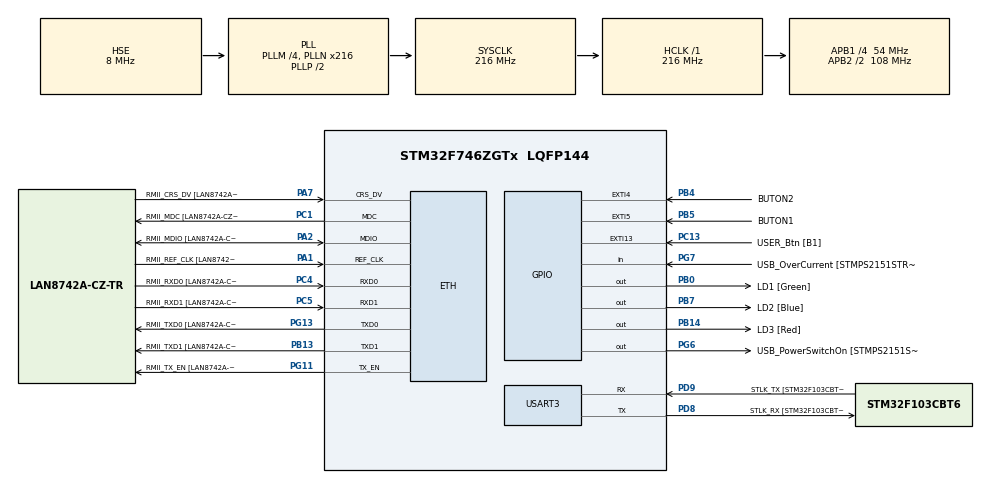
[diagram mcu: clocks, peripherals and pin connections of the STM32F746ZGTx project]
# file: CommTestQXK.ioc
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Dma.Request0=USART3_RX
Dma.Request1=USART3_TX
Dma.USART3_RX.0.Direction=DMA_PERIPH_TO_MEMORY
Dma.USART3_RX.0.FIFOMode=DMA_FIFOMODE_DISABLE
Dma.USART3_RX.0.Instance=DMA1_Stream1
Dma.USART3_RX.0.MemDataAlignment=DMA_MDATAALIGN_BYTE
Dma.USART3_RX.0.MemInc=DMA_MINC_ENABLE
Dma.USART3_RX.0.Mode=DMA_CIRCULAR
Dma.USART3_RX.0.PeriphDataAlignment=DMA_PDATAALIGN_BYTE
Dma.USART3_RX.0.PeriphInc=DMA_PINC_DISABLE
Dma.USART3_RX.0.Priority=DMA_PRIORITY_LOW
Dma.USART3_TX.1.Direction=DMA_MEMORY_TO_PERIPH
Dma.USART3_TX.1.FIFOMode=DMA_FIFOMODE_DISABLE
Dma.USART3_TX.1.Instance=DMA1_Stream3
Dma.USART3_TX.1.MemDataAlignment=DMA_MDATAALIGN_BYTE
Dma.USART3_TX.1.MemInc=DMA_MINC_ENABLE
Dma.USART3_TX.1.Mode=DMA_NORMAL
Dma.USART3_TX.1.PeriphDataAlignment=DMA_PDATAALIGN_BYTE
Dma.USART3_TX.1.PeriphInc=DMA_PINC_DISABLE
Dma.USART3_TX.1.Priority=DMA_PRIORITY_LOW
ETH.ChecksumMode=ETH_CHECKSUM_BY_HARDWARE
ETH.MediaInterface=ETH_MEDIA_INTERFACE_RMII
ETH.PHY_Name=LAN8742A_PHY_ADDRESS
ETH.PHY_Value=0
ETH.PhyAddress=0
FREERTOS.Tasks01=defaultTask,0,128,StartDefaultTask,Default,NULL,Dynamic,NULL,NULL
LWIP.IP_ADDRESS=192.168.000.010
LWIP.LWIP_DHCP=0
LWIP.MEMP_OVERFLOW_CHECK=1
LWIP.MEMP_SANITY_CHECK=1
LWIP.MEM_OVERFLOW_CHECK=1
LWIP.MEM_SIZE=16000
LWIP.NETMASK_ADDRESS=255.255.255.000
LWIP.Version=v2.1.2_Cube
Mcu.Family=STM32F7
Mcu.Name=STM32F746ZGTx
Mcu.Package=LQFP144
NVIC.DMA1_Stream1_IRQn=true\:5\:0\:false\:false\:true\:true\:false\:true\:true
NVIC.DMA1_Stream3_IRQn=true\:5\:0\:false\:false\:true\:true\:false\:true\:true
NVIC.ETH_IRQn=true\:5\:0\:false\:false\:true\:true\:true\:true\:true
NVIC.ETH_WKUP_IRQn=true\:5\:0\:false\:false\:true\:true\:true\:true\:true
NVIC.EXTI15_10_IRQn=true\:5\:0\:false\:false\:true\:true\:true\:true\:true
NVIC.EXTI4_IRQn=true\:5\:0\:false\:false\:true\:true\:true\:true\:true
NVIC.EXTI9_5_IRQn=true\:5\:0\:false\:false\:true\:true\:true\:true\:true
NVIC.PriorityGroup=NVIC_PRIORITYGROUP_4
NVIC.TIM6_DAC_IRQn=true\:5\:0\:false\:false\:true\:true\:true\:true\:true
NVIC.USART3_IRQn=true\:5\:0\:false\:false\:true\:true\:true\:true\:true
PA1.GPIO_Label=RMII_REF_CLK [LAN8742A-CZ-TR_REFCLK0]
PA1.Mode=RMII
PA1.Signal=ETH_REF_CLK
PA13.GPIO_Label=TMS
PA13.Mode=Trace_Asynchronous_SW
PA13.Signal=SYS_JTMS-SWDIO
PA14.GPIO_Label=TCK
PA14.Mode=Trace_Asynchronous_SW
PA14.Signal=SYS_JTCK-SWCLK
PA2.GPIO_Label=RMII_MDIO [LAN8742A-CZ-TR_MDIO]
PA2.Mode=RMII
PA2.Signal=ETH_MDIO
PA7.GPIO_Label=RMII_CRS_DV [LAN8742A-CZ-TR_CRS_DV]
PA7.Mode=RMII
PA7.Signal=ETH_CRS_DV
PB0.GPIO_Label=LD1 [Green]
PB0.Signal=GPIO_Output
PB13.GPIO_Label=RMII_TXD1 [LAN8742A-CZ-TR_TXD1]
PB13.Mode=RMII
PB13.Signal=ETH_TXD1
PB14.GPIO_Label=LD3 [Red]
PB14.Signal=GPIO_Output
PB3.GPIO_Label=SW0
PB3.Mode=Trace_Asynchronous_SW
PB3.Signal=SYS_JTDO-SWO
PB4.GPIO_Label=BUTON2
PB4.GPIO_ModeDefaultEXTI=GPIO_MODE_IT_RISING_FALLING
PB4.GPIO_PuPd=GPIO_PULLDOWN
PB4.Signal=GPXTI4
PB5.GPIO_Label=BUTON1
PB5.GPIO_ModeDefaultEXTI=GPIO_MODE_IT_RISING_FALLING
PB5.GPIO_PuPd=GPIO_PULLDOWN
PB5.Signal=GPXTI5
PB7.GPIO_Label=LD2 [Blue]
PB7.Signal=GPIO_Output
PC1.GPIO_Label=RMII_MDC [LAN8742A-CZ-TR_MDC]
PC1.Mode=RMII
PC1.Signal=ETH_MDC
PC13.GPIO_Label=USER_Btn [B1]
PC13.GPIO_ModeDefaultEXTI=GPIO_MODE_IT_RISING_FALLING
PC13.GPIO_PuPd=GPIO_PULLDOWN
PC13.Signal=GPXTI13
PC14/OSC32_IN.Mode=LSE-External-Oscillator
PC14/OSC32_IN.Signal=RCC_OSC32_IN
PC15/OSC32_OUT.Mode=LSE-External-Oscillator
PC15/OSC32_OUT.Signal=RCC_OSC32_OUT
PC4.GPIO_Label=RMII_RXD0 [LAN8742A-CZ-TR_RXD0]
PC4.Mode=RMII
PC4.Signal=ETH_RXD0
PC5.GPIO_Label=RMII_RXD1 [LAN8742A-CZ-TR_RXD1]
PC5.Mode=RMII
PC5.Signal=ETH_RXD1
PD8.GPIO_Label=STLK_RX [STM32F103CBT6_PA3]
PD8.Mode=Asynchronous
PD8.Signal=USART3_TX
PD9.GPIO_Label=STLK_TX [STM32F103CBT6_PA2]
PD9.Mode=Asynchronous
PD9.Signal=USART3_RX
PG11.GPIO_Label=RMII_TX_EN [LAN8742A-CZ-TR_TXEN]
PG11.Mode=RMII
PG11.Signal=ETH_TX_EN
PG13.GPIO_Label=RMII_TXD0 [LAN8742A-CZ-TR_TXD0]
PG13.Mode=RMII
PG13.Signal=ETH_TXD0
PG6.GPIO_Label=USB_PowerSwitchOn [STMPS2151STR_EN]
PG6.Signal=GPIO_Output
PG7.GPIO_Label=USB_OverCurrent [STMPS2151STR_FAULT]
PG7.Signal=GPIO_Input
PH0/OSC_IN.GPIO_Label=MCO [STM32F103CBT6_PA8]
PH0/OSC_IN.Mode=HSE-External-Clock-Source
PH0/OSC_IN.Signal=RCC_OSC_IN
PH1/OSC_OUT.Mode=HSE-External-Clock-Source
PH1/OSC_OUT.Signal=RCC_OSC_OUT
ProjectManager.HeapSize=0x2000
ProjectManager.StackSize=0x4000
ProjectManager.TargetToolchain=STM32CubeIDE
RCC.48MHZClocksFreq_Value=24000000
RCC.AHBFreq_Value=216000000
RCC.APB1CLKDivider=RCC_HCLK_DIV4
RCC.APB1Freq_Value=54000000
RCC.APB1TimFreq_Value=108000000
RCC.APB2CLKDivider=RCC_HCLK_DIV2
RCC.APB2Freq_Value=108000000
RCC.APB2TimCLKDivider=1
RCC.APB2TimFreq_Value=108000000
RCC.CortexFreq_Value=216000000
RCC.HCLKFreq_Value=216000000
RCC.HSE_VALUE=8000000
RCC.HSI_VALUE=16000000
RCC.PLLM=4
RCC.PLLMUL=RCC_PLL_MUL9
RCC.PLLN=216
RCC.PLLQ=9
RCC.PLLSourceVirtual=RCC_PLLSOURCE_HSE
RCC.PRESCALERUSB=RCC_USBCLKSOURCE_PLL_DIV1_5
RCC.SYSCLKFreq_VALUE=216000000
RCC.SYSCLKSource=RCC_SYSCLKSOURCE_PLLCLK
RCC.SYSCLKSourceVirtual=RCC_SYSCLKSOURCE_PLLCLK
RCC.USBFreq_Value=48000000
RCC.VCOOutputFreq_Value=432000000
TIM6.Period=100-1
TIM6.Prescaler=540-1
USART3.VirtualMode-Asynchronous=VM_ASYNC
VP_FREERTOS_VS_CMSIS_V1.Mode=CMSIS_V1
VP_LWIP_VS_Enabled.Mode=Enabled
VP_TIM6_VS_ClockSourceINT.Mode=Enable_Timer
board=NUCLEO-F746ZG

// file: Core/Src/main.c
/* USER CODE BEGIN Header */
/**
  ******************************************************************************
  * @file           : main.c
  * @brief          : Main program body
  ******************************************************************************
  * @attention
  *
  * Copyright (c) 2022 STMicroelectronics.
  * All rights reserved.
  *
  * This software is licensed under terms that can be found in the LICENSE file
  * in the root directory of this software component.
  * If no LICENSE file comes with this software, it is provided AS-IS.
  *
  ******************************************************************************
  */
/* USER CODE END Header */
#include "main.h"
#include "cmsis_os.h"
#include "lwip.h"

/* USER CODE BEGIN Includes */
#include "stdio.h"
#include "stdlib.h"  /*For malloc function*/
#include "stdbool.h"
#include "retarget.h"
//#include "udp_echoserver.h"
#include "string.h"
#include "CommDriver.h"

/* USER CODE END Includes */

/* USER CODE BEGIN PTD */

Q_DEFINE_THIS_MODULE("main");

/* USER CODE END PTD */

/* USER CODE BEGIN PD */
#define RTOS_AWARE_ISR_CMSIS_PRI \
    (configMAX_SYSCALL_INTERRUPT_PRIORITY >> (8-__NVIC_PRIO_BITS))
#define BSP_TICKS_PER_SEC 100
/* USER CODE END PD */

TIM_HandleTypeDef htim6;

UART_HandleTypeDef huart3;
DMA_HandleTypeDef hdma_usart3_rx;
DMA_HandleTypeDef hdma_usart3_tx;

osThreadId defaultTaskHandle;

void SystemClock_Config(void);
static void MX_GPIO_Init(void);
static void MX_USART3_UART_Init(void);
static void MX_DMA_Init(void);
static void MX_TIM6_Init(void);
void StartDefaultTask(void const * argument);

/* USER CODE BEGIN PFP */
void Q_onAssert(char const *module, int loc);
/* USER CODE END PFP */

int main(void)
{
  /* USER CODE BEGIN 1 */
	static QSubscrList subscrSto[10];

	static QF_MPOOL_EL(TextEvt) smlPoolSto[10]; /* small pool */

	static QEvt const *LwipDriver_queue[100];
	static QEvt const *UartDriver_queue[10];

	static StackType_t LwipDriverStack[configMINIMAL_STACK_SIZE * 5];
	static StackType_t UartDriverStack[configMINIMAL_STACK_SIZE * 3];

	static LwipDriver lwipdriver;
	static UartDriver uartdriver;
	static QActive *AO_LwipDriver = &lwipdriver.super;
	static QActive *AO_UartDriver = &uartdriver.super;
  /* USER CODE END 1 */

  /* MCU Configuration--------------------------------------------------------*/

  /* Reset of all peripherals, Initializes the Flash interface and the Systick. */
  HAL_Init();

  /* Configure the system clock */
  SystemClock_Config();

  /* Initialize all configured peripherals */
  MX_GPIO_Init();
  MX_USART3_UART_Init();
  MX_DMA_Init();
  MX_TIM6_Init();
  /* USER CODE BEGIN 2 */
  HAL_UART_DeInit(&huart3);
  HAL_UART_Init(&huart3);
  HAL_UART_Receive_DMA(&huart3,(uint8_t *)uartdriver.text,sizeof(uartdriver.text));
  RetargetInit(&huart3);

  printf("Merhaba\r\n");

  UartDriver_ctor(&uartdriver);
//  LwipDriver_ctor(&lwipdriver);

  QF_init();
  QF_psInit(subscrSto, Q_DIM(subscrSto));
  /* initialize event pools... */
  QF_poolInit(smlPoolSto, sizeof(smlPoolSto), sizeof(smlPoolSto[0]));

  /*Aktif objeler arasındaki öncelik ilişkisine dikkat et , öncelikler kesinlikle aynı olmayacak*/
//  QActive_setAttr(AO_LwipDriver, TASK_NAME_ATTR, "Lwip");
//  QACTIVE_START(AO_LwipDriver,2U,LwipDriver_queue,Q_DIM(LwipDriver_queue),LwipDriverStack,Q_DIM(LwipDriverStack),(QEvt *)0);
  QActive_setAttr(AO_UartDriver, TASK_NAME_ATTR, "Uart");
  QACTIVE_START(AO_UartDriver,1U,UartDriver_queue,Q_DIM(UartDriver_queue),UartDriverStack,Q_DIM(UartDriverStack),(QEvt *)0);
  return QF_run();

  /* USER CODE END 2 */

  /* Create the thread(s) */
  /* definition and creation of defaultTask */
  osThreadDef(defaultTask, StartDefaultTask, osPriorityNormal, 0, 128);
  defaultTaskHandle = osThreadCreate(osThread(defaultTask), NULL);

  /* Start scheduler */
  osKernelStart();

  /* We should never get here as control is now taken by the scheduler */
  /* Infinite loop */
  while (1)
  {

    /* USER CODE BEGIN 3 */

//	  MX_LWIP_Process();

  }
  /* USER CODE END 3 */
}

void SystemClock_Config(void)
{
  RCC_OscInitTypeDef RCC_OscInitStruct = {0};
  RCC_ClkInitTypeDef RCC_ClkInitStruct = {0};

  /** Configure LSE Drive Capability
  */
  HAL_PWR_EnableBkUpAccess();

  /** Configure the main internal regulator output voltage
  */
  __HAL_RCC_PWR_CLK_ENABLE();
  __HAL_PWR_VOLTAGESCALING_CONFIG(PWR_REGULATOR_VOLTAGE_SCALE1);

  /** Initializes the RCC Oscillators according to the specified parameters
  * in the RCC_OscInitTypeDef structure.
  */
  RCC_OscInitStruct.OscillatorType = RCC_OSCILLATORTYPE_HSE;
  RCC_OscInitStruct.HSEState = RCC_HSE_BYPASS;
  RCC_OscInitStruct.PLL.PLLState = RCC_PLL_ON;
  RCC_OscInitStruct.PLL.PLLSource = RCC_PLLSOURCE_HSE;
  RCC_OscInitStruct.PLL.PLLM = 4;
  RCC_OscInitStruct.PLL.PLLN = 216;
  RCC_OscInitStruct.PLL.PLLP = RCC_PLLP_DIV2;
  RCC_OscInitStruct.PLL.PLLQ = 9;
  if (HAL_RCC_OscConfig(&RCC_OscInitStruct) != HAL_OK)
  {
    Error_Handler();
  }

  /** Activate the Over-Drive mode
  */
  if (HAL_PWREx_EnableOverDrive() != HAL_OK)
  {
    Error_Handler();
  }

  /** Initializes the CPU, AHB and APB buses clocks
  */
  RCC_ClkInitStruct.ClockType = RCC_CLOCKTYPE_HCLK|RCC_CLOCKTYPE_SYSCLK
                              |RCC_CLOCKTYPE_PCLK1|RCC_CLOCKTYPE_PCLK2;
  RCC_ClkInitStruct.SYSCLKSource = RCC_SYSCLKSOURCE_PLLCLK;
  RCC_ClkInitStruct.AHBCLKDivider = RCC_SYSCLK_DIV1;
  RCC_ClkInitStruct.APB1CLKDivider = RCC_HCLK_DIV4;
  RCC_ClkInitStruct.APB2CLKDivider = RCC_HCLK_DIV2;

  if (HAL_RCC_ClockConfig(&RCC_ClkInitStruct, FLASH_LATENCY_7) != HAL_OK)
  {
    Error_Handler();
  }
}

static void MX_TIM6_Init(void)
{

  TIM_MasterConfigTypeDef sMasterConfig = {0};

  htim6.Instance = TIM6;
  htim6.Init.Prescaler = 540-1;
  htim6.Init.CounterMode = TIM_COUNTERMODE_UP;
  htim6.Init.Period = 100-1;
  htim6.Init.AutoReloadPreload = TIM_AUTORELOAD_PRELOAD_DISABLE;
  if (HAL_TIM_Base_Init(&htim6) != HAL_OK)
  {
    Error_Handler();
  }
  sMasterConfig.MasterOutputTrigger = TIM_TRGO_RESET;
  sMasterConfig.MasterSlaveMode = TIM_MASTERSLAVEMODE_DISABLE;
  if (HAL_TIMEx_MasterConfigSynchronization(&htim6, &sMasterConfig) != HAL_OK)
  {
    Error_Handler();
  }

}

static void MX_USART3_UART_Init(void)
{

  huart3.Instance = USART3;
  huart3.Init.BaudRate = 115200;
  huart3.Init.WordLength = UART_WORDLENGTH_8B;
  huart3.Init.StopBits = UART_STOPBITS_1;
  huart3.Init.Parity = UART_PARITY_NONE;
  huart3.Init.Mode = UART_MODE_TX_RX;
  huart3.Init.HwFlowCtl = UART_HWCONTROL_NONE;
  huart3.Init.OverSampling = UART_OVERSAMPLING_16;
  huart3.Init.OneBitSampling = UART_ONE_BIT_SAMPLE_DISABLE;
  huart3.AdvancedInit.AdvFeatureInit = UART_ADVFEATURE_NO_INIT;
  if (HAL_UART_Init(&huart3) != HAL_OK)
  {
    Error_Handler();
  }

}

static void MX_DMA_Init(void)
{

  /* DMA controller clock enable */
  __HAL_RCC_DMA1_CLK_ENABLE();

  /* DMA interrupt init */
  /* DMA1_Stream1_IRQn interrupt configuration */
  HAL_NVIC_SetPriority(DMA1_Stream1_IRQn, 5, 0);
  HAL_NVIC_EnableIRQ(DMA1_Stream1_IRQn);
  /* DMA1_Stream3_IRQn interrupt configuration */
  HAL_NVIC_SetPriority(DMA1_Stream3_IRQn, 5, 0);
  HAL_NVIC_EnableIRQ(DMA1_Stream3_IRQn);

}

static void MX_GPIO_Init(void)
{
  GPIO_InitTypeDef GPIO_InitStruct = {0};

  /* GPIO Ports Clock Enable */
  __HAL_RCC_GPIOC_CLK_ENABLE();
  __HAL_RCC_GPIOH_CLK_ENABLE();
  __HAL_RCC_GPIOA_CLK_ENABLE();
  __HAL_RCC_GPIOB_CLK_ENABLE();
  __HAL_RCC_GPIOD_CLK_ENABLE();
  __HAL_RCC_GPIOG_CLK_ENABLE();

  /*Configure GPIO pin Output Level */
  HAL_GPIO_WritePin(GPIOB, LD1_Pin|LD3_Pin|LD2_Pin, GPIO_PIN_RESET);

  /*Configure GPIO pin Output Level */
  HAL_GPIO_WritePin(USB_PowerSwitchOn_GPIO_Port, USB_PowerSwitchOn_Pin, GPIO_PIN_RESET);

  /*Configure GPIO pin : USER_Btn_Pin */
  GPIO_InitStruct.Pin = USER_Btn_Pin;
  GPIO_InitStruct.Mode = GPIO_MODE_IT_RISING_FALLING;
  GPIO_InitStruct.Pull = GPIO_PULLDOWN;
  HAL_GPIO_Init(USER_Btn_GPIO_Port, &GPIO_InitStruct);

  /*Configure GPIO pins : LD1_Pin LD3_Pin LD2_Pin */
  GPIO_InitStruct.Pin = LD1_Pin|LD3_Pin|LD2_Pin;
  GPIO_InitStruct.Mode = GPIO_MODE_OUTPUT_PP;
  GPIO_InitStruct.Pull = GPIO_NOPULL;
  GPIO_InitStruct.Speed = GPIO_SPEED_FREQ_LOW;
  HAL_GPIO_Init(GPIOB, &GPIO_InitStruct);

  /*Configure GPIO pin : USB_PowerSwitchOn_Pin */
  GPIO_InitStruct.Pin = USB_PowerSwitchOn_Pin;
  GPIO_InitStruct.Mode = GPIO_MODE_OUTPUT_PP;
  GPIO_InitStruct.Pull = GPIO_NOPULL;
  GPIO_InitStruct.Speed = GPIO_SPEED_FREQ_LOW;
  HAL_GPIO_Init(USB_PowerSwitchOn_GPIO_Port, &GPIO_InitStruct);

  /*Configure GPIO pin : USB_OverCurrent_Pin */
  GPIO_InitStruct.Pin = USB_OverCurrent_Pin;
  GPIO_InitStruct.Mode = GPIO_MODE_INPUT;
  GPIO_InitStruct.Pull = GPIO_NOPULL;
  HAL_GPIO_Init(USB_OverCurrent_GPIO_Port, &GPIO_InitStruct);

  /*Configure GPIO pins : BUTON2_Pin BUTON1_Pin */
  GPIO_InitStruct.Pin = BUTON2_Pin|BUTON1_Pin;
  GPIO_InitStruct.Mode = GPIO_MODE_IT_RISING_FALLING;
  GPIO_InitStruct.Pull = GPIO_PULLDOWN;
  HAL_GPIO_Init(GPIOB, &GPIO_InitStruct);

  /* EXTI interrupt init*/
  HAL_NVIC_SetPriority(EXTI4_IRQn, 5, 0);
  HAL_NVIC_EnableIRQ(EXTI4_IRQn);

  HAL_NVIC_SetPriority(EXTI9_5_IRQn, 5, 0);
  HAL_NVIC_EnableIRQ(EXTI9_5_IRQn);

  HAL_NVIC_SetPriority(EXTI15_10_IRQn, 5, 0);
  HAL_NVIC_EnableIRQ(EXTI15_10_IRQn);

}

/* USER CODE BEGIN 4 */

void Q_onAssert(char const *module, int loc) {
    /* TBD: damage control */
    (void)module; /* avoid the "unused parameter" compiler warning */
    (void)loc;    /* avoid the "unused parameter" compiler warning */
    NVIC_SystemReset();
}

/**
  * @brief  SYSTICK callback.
  * @retval None
  */
void HAL_SYSTICK_Callback(void)
{
  /* NOTE : This function Should not be modified, when the callback is needed,
            the HAL_SYSTICK_Callback could be implemented in the user file
   */

	  static uint8_t const l_tickhook = 0;
	  BaseType_t xTickWoken = pdFALSE;
	  QF_TICK_X_FROM_ISR(0U,&xTickWoken,&l_tickhook);
	  portEND_SWITCHING_ISR(xTickWoken);
	__NOP();
}

void QV_onIdle(void){
#ifndef NDEBUG
	QV_CPU_SLEEP();
#else
	QF_INT_ENABLE();
#endif
}

void QF_onStartup(void){
//	MX_LWIP_Init();
}

/* USER CODE END 4 */

void StartDefaultTask(void const * argument)
{
  /* init code for LWIP */
  MX_LWIP_Init();
  for(;;)
  {
    osDelay(1);
  }
}

void Error_Handler(void)
{
  __disable_irq();
  while (1)
  {
  }
}
